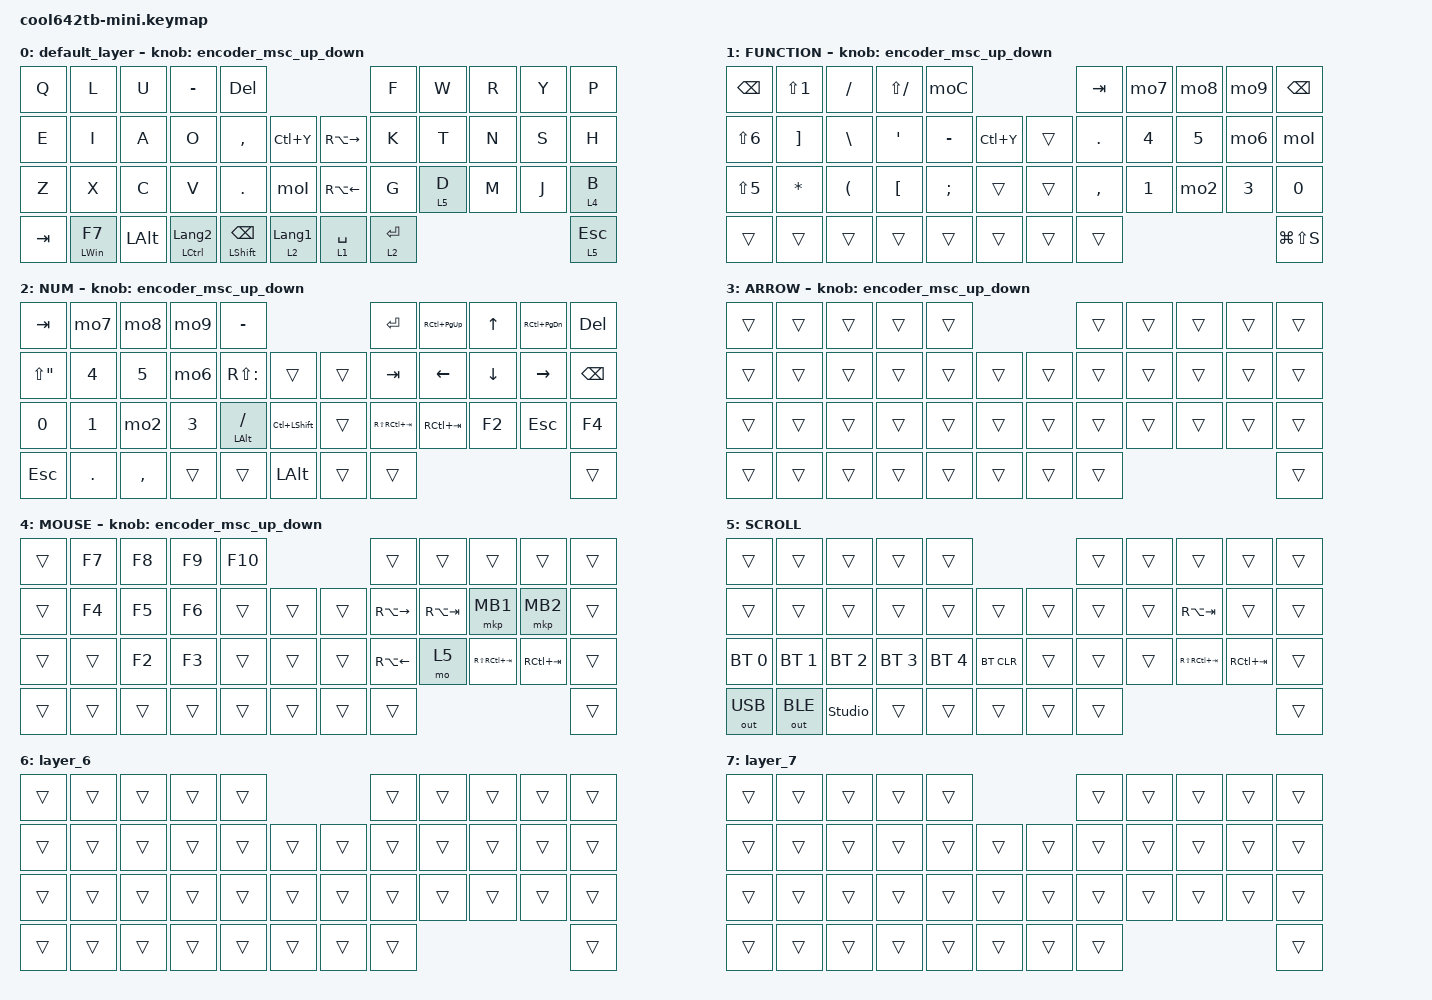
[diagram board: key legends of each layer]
#include <behaviors.dtsi>
#include <dt-bindings/zmk/bt.h>
#include <dt-bindings/zmk/keys.h>
#include <dt-bindings/zmk/outputs.h>
#include <dt-bindings/zmk/pointing.h>

#define NUM 6
#define ZMK_POINTING_DEFAULT_SCRL_VAL 80
#define JP_DQUOTE       AT                // "
#define JP_AMPERSAND    CARET             // &
#define JP_QUOTE        AMPERSAND         // '
#define JP_EQUAL        UNDER             // =
#define JP_CARET        EQUAL             // ^
#define JP_YEN          0x89              // ¥
#define JP_PLUS         COLON             // +
#define JP_TILDE        PLUS              // ~
#define JP_PIPE         LS(0x89)          // |
#define JP_AT           LEFT_BRACKET      // @
#define JP_COLON        SINGLE_QUOTE      // :
#define JP_ASTERISK     DOUBLE_QUOTES     // *
#define JP_BACKQUOTE    LEFT_BRACE        // `
#define JP_UNDERSCORE   LS(0x87)          // _
#define JP_LBRACKET     RIGHT_BRACKET     // [
#define JP_RBRACKET     BACKSLASH         // ]
#define JP_LPAREN       ASTERISK          // (
#define JP_RPAREN       LEFT_PARENTHESIS  // )
#define JP_LBRACE       RIGHT_BRACE       // {
#define JP_RBRACE       PIPE              // }
#define JP_KANA         LANGUAGE_1        // かな
#define JP_EISU         LANGUAGE_2        // 英数
#define JP_HANZEN       GRAVE             // 半角/全角
#define JP_BSLH  INT1         // (backslash)

&mt {
    flavor = "balanced";
    quick-tap-ms = <0>;
};

/ {
    combos {
        compatible = "zmk,combos";

        Grave {
            bindings = <&kp GRAVE>;
            key-positions = <1 2>;
            layers = <0>;
        };
    };

    mo2: mo2 {
        compatible = "zmk,behavior-mod-morph";
        #binding-cells = <0>;
        bindings = <&kp N2>, <&kp AT>;

        mods = <(MOD_LSFT|MOD_RSFT)>;
    };

    mo6: mo6 {
        compatible = "zmk,behavior-mod-morph";
        #binding-cells = <0>;
        bindings = <&kp N6>, <&kp CARET>;

        mods = <(MOD_LSFT|MOD_RSFT)>;
    };

    mo7: mo7 {
        compatible = "zmk,behavior-mod-morph";
        #binding-cells = <0>;
        bindings = <&kp N7>, <&kp AMPS>;

        mods = <(MOD_LSFT|MOD_RSFT)>;
    };

    mo8: mo8 {
        compatible = "zmk,behavior-mod-morph";
        #binding-cells = <0>;
        bindings = <&kp N8>, <&kp ASTRK>;

        mods = <(MOD_LSFT|MOD_RSFT)>;
    };

    mo9: mo9 {
        compatible = "zmk,behavior-mod-morph";
        #binding-cells = <0>;
        bindings = <&kp N9>, <&kp LPAR>;

        mods = <(MOD_LSFT|MOD_RSFT)>;
    };

    mo0: mo0 {
        compatible = "zmk,behavior-mod-morph";
        #binding-cells = <0>;
        bindings = <&kp N0>, <&kp LS(N9)>;

        mods = <(MOD_LSFT|MOD_RSFT)>;
    };

    moA: moA {
        compatible = "zmk,behavior-mod-morph";
        #binding-cells = <0>;
        bindings = <&kp MINUS>, <&kp UNDERSCORE>;

        mods = <(MOD_LSFT|MOD_RSFT)>;
    };

    moB: moB {
        compatible = "zmk,behavior-mod-morph";
        #binding-cells = <0>;
        bindings = <&kp EQUAL>, <&kp PLUS>;

        mods = <(MOD_LSFT|MOD_RSFT)>;
    };

    moC: moC {
        compatible = "zmk,behavior-mod-morph";
        #binding-cells = <0>;
        bindings = <&kp INT3>, <&kp JP_PIPE>;

        mods = <(MOD_LSFT|MOD_RSFT)>;
        keep-mods = <(MOD_LSFT|MOD_RSFT)>;
    };

    moD: moD {
        compatible = "zmk,behavior-mod-morph";
        #binding-cells = <0>;
        bindings = <&kp LBKT>, <&kp LBRC>;

        mods = <(MOD_LSFT|MOD_RSFT)>;
    };

    moE: moE {
        compatible = "zmk,behavior-mod-morph";
        #binding-cells = <0>;
        bindings = <&kp RBKT>, <&kp RBRC>;

        mods = <(MOD_LSFT|MOD_RSFT)>;
    };

    moF: moF {
        compatible = "zmk,behavior-mod-morph";
        #binding-cells = <0>;
        bindings = <&kp SEMI>, <&kp KP_PLUS>;

        mods = <(MOD_LSFT|MOD_RSFT)>;
    };

    moG: moG {
        compatible = "zmk,behavior-mod-morph";
        #binding-cells = <0>;
        bindings = <&kp APOSTROPHE>, <&kp DQT>;

        mods = <(MOD_LSFT|MOD_RSFT)>;
    };

    moH: moH {
        compatible = "zmk,behavior-mod-morph";
        #binding-cells = <0>;
        bindings = <&kp BACKSLASH>, <&kp TILDE2>;

        mods = <(MOD_LSFT|MOD_RSFT)>;
    };

    moI: moI {
        compatible = "zmk,behavior-mod-morph";
        #binding-cells = <0>;
        bindings = <&kp JP_BSLH>, <&kp JP_UNDERSCORE>;

        mods = <(MOD_LSFT|MOD_RSFT)>;
        keep-mods = <(MOD_LSFT|MOD_RSFT)>;
    };

    behaviors {
        encoder_msc_up_down: encoder_msc_up_down {
            compatible = "zmk,behavior-sensor-rotate";
            label = "ENCODER_MSC_UP_DOWN";
            #sensor-binding-cells = <0>;
            bindings = <&msc SCRL_UP>, <&msc SCRL_DOWN>;

            tap-ms = <20>;
        };
    };

    keymap {
        compatible = "zmk,keymap";

        default_layer {
            bindings = <
&kp Q    &kp L            &kp U         &kp MINUS             &kp DELETE                                                      &kp F        &kp W    &kp R  &kp Y  &kp P
&kp E    &kp I            &kp A         &kp O                 &kp COMMA            &kp LC(Y)             &kp RA(RIGHT_ARROW)  &kp K        &kp T    &kp N  &kp S  &kp H
&kp Z    &kp X            &kp C         &kp V                 &kp PERIOD           &moI                  &kp RA(LEFT_ARROW)   &kp G        &lt 5 D  &kp M  &kp J  &lt 4 B
&kp TAB  &mt LEFT_WIN F7  &kp LEFT_ALT  &mt LCTRL LANGUAGE_2  &mt LSHFT BACKSPACE  &lt 2 LANGUAGE_1      &lt 1 SPACE          &lt 2 ENTER                         &lt 5 ESCAPE
            >;

            sensor-bindings = <&encoder_msc_up_down>;
        };

        FUNCTION {
            bindings = <
&kp BACKSPACE     &kp LS(NUMBER_1)   &kp SLASH             &kp LS(SLASH)     &moC                                  &kp TAB     &mo7          &mo8    &mo9          &kp BACKSPACE
&kp LS(NUMBER_6)  &kp RIGHT_BRACKET  &kp BACKSLASH         &kp SINGLE_QUOTE  &kp MINUS      &kp LC(Y)      &trans  &kp PERIOD  &kp NUMBER_4  &kp N5  &mo6          &moI
&kp LS(N5)        &kp ASTRK          &kp LEFT_PARENTHESIS  &kp LEFT_BRACKET  &kp SEMICOLON  &trans         &trans  &kp COMMA   &kp NUMBER_1  &mo2    &kp NUMBER_3  &kp N0
&trans            &trans             &trans                &trans            &trans         &trans         &trans  &trans                                          &kp LG(LS(S))
            >;

            sensor-bindings = <&encoder_msc_up_down>;
        };

        NUM {
            bindings = <
&kp TAB                &mo7          &mo8       &mo9          &kp MINUS                                      &kp ENTER        &kp RC(PAGE_UP)  &kp UP_ARROW    &kp RC(PAGE_DOWN)  &kp DEL
&kp LS(DOUBLE_QUOTES)  &kp NUMBER_4  &kp N5     &mo6          &kp RS(COLON)       &trans             &trans  &kp TAB          &kp LEFT_ARROW   &kp DOWN_ARROW  &kp RIGHT_ARROW    &kp BACKSPACE
&kp N0                 &kp NUMBER_1  &mo2       &kp NUMBER_3  &mt LEFT_ALT SLASH  &kp LC(LSHFT)      &trans  &kp RS(RC(TAB))  &kp RC(TAB)      &kp F2          &kp ESCAPE         &kp F4
&kp ESC                &kp PERIOD    &kp COMMA  &trans        &trans              &kp LEFT_ALT       &trans  &trans                                                               &trans
            >;

            sensor-bindings = <&encoder_msc_up_down>;
        };

        ARROW {
            bindings = <
&trans  &trans  &trans  &trans  &trans                      &trans  &trans  &trans  &trans  &trans
&trans  &trans  &trans  &trans  &trans  &trans      &trans  &trans  &trans  &trans  &trans  &trans
&trans  &trans  &trans  &trans  &trans  &trans      &trans  &trans  &trans  &trans  &trans  &trans
&trans  &trans  &trans  &trans  &trans  &trans      &trans  &trans                          &trans
            >;

            sensor-bindings = <&encoder_msc_up_down>;
        };

        MOUSE {
            bindings = <
&trans  &kp F7  &kp F8  &kp F9  &kp F10                      &trans               &trans       &trans           &trans       &trans
&trans  &kp F4  &kp F5  &kp F6  &trans   &trans      &trans  &kp RA(RIGHT_ARROW)  &kp RA(TAB)  &mkp MB1         &mkp MB2     &trans
&trans  &trans  &kp F2  &kp F3  &trans   &trans      &trans  &kp RA(LEFT_ARROW)   &mo 5        &kp RS(RC(TAB))  &kp RC(TAB)  &trans
&trans  &trans  &trans  &trans  &trans   &trans      &trans  &trans                                                          &trans
            >;

            sensor-bindings = <&encoder_msc_up_down>;
        };

        SCROLL {
            bindings = <
&trans        &trans        &trans          &trans        &trans                                &trans  &trans  &trans           &trans       &trans
&trans        &trans        &trans          &trans        &trans        &trans          &trans  &trans  &trans  &kp RA(TAB)      &trans       &trans
&bt BT_SEL 0  &bt BT_SEL 1  &bt BT_SEL 2    &bt BT_SEL 3  &bt BT_SEL 4  &bt BT_CLR      &trans  &trans  &trans  &kp RS(RC(TAB))  &kp RC(TAB)  &trans
&out OUT_USB  &out OUT_BLE  &studio_unlock  &trans        &trans        &trans          &trans  &trans                                        &trans
            >;
        };

        layer_6 {
            bindings = <
&trans  &trans  &trans  &trans  &trans                      &trans  &trans  &trans  &trans  &trans
&trans  &trans  &trans  &trans  &trans  &trans      &trans  &trans  &trans  &trans  &trans  &trans
&trans  &trans  &trans  &trans  &trans  &trans      &trans  &trans  &trans  &trans  &trans  &trans
&trans  &trans  &trans  &trans  &trans  &trans      &trans  &trans                          &trans
            >;
        };

        layer_7 {
            bindings = <
&trans  &trans  &trans  &trans  &trans                      &trans  &trans  &trans  &trans  &trans
&trans  &trans  &trans  &trans  &trans  &trans      &trans  &trans  &trans  &trans  &trans  &trans
&trans  &trans  &trans  &trans  &trans  &trans      &trans  &trans  &trans  &trans  &trans  &trans
&trans  &trans  &trans  &trans  &trans  &trans      &trans  &trans                          &trans
            >;
        };
    };
};
